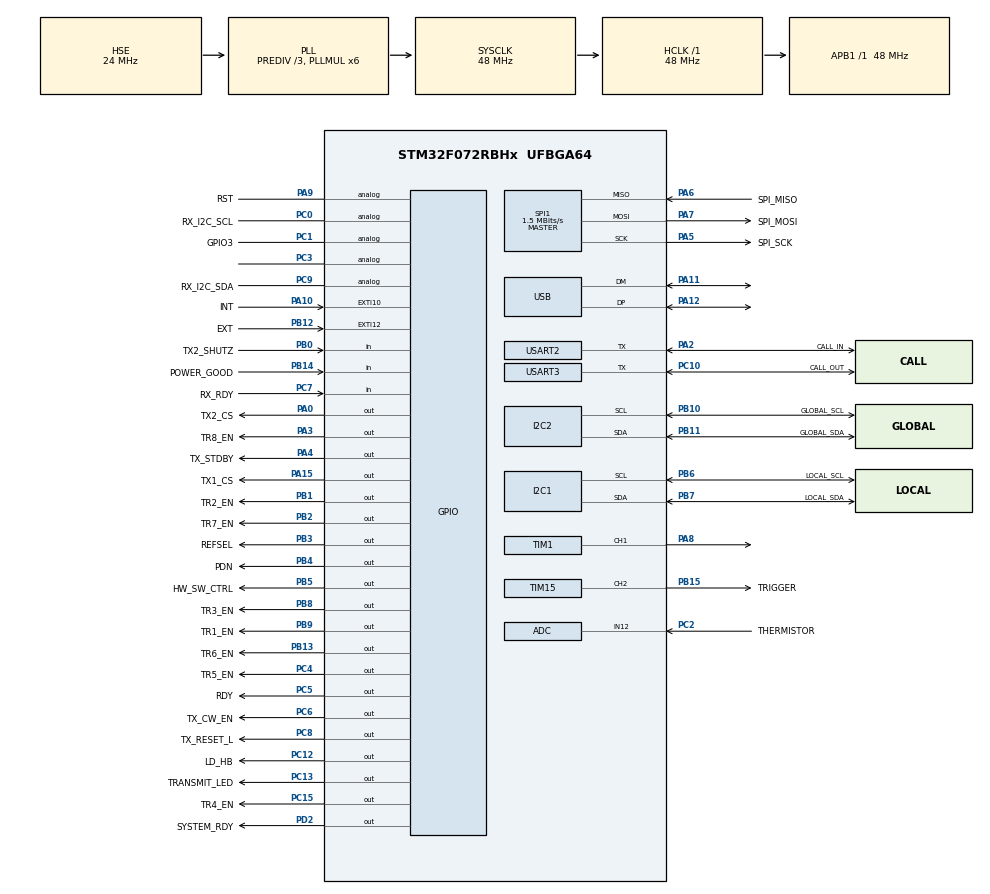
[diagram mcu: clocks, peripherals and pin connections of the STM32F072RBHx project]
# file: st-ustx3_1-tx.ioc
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ADC.ClockPrescaler=ADC_CLOCK_SYNC_PCLK_DIV4
ADC.ContinuousConvMode=ENABLE
ADC.SamplingTime=ADC_SAMPLETIME_28CYCLES_5
Dma.Request0=USART2_RX
Dma.Request1=USART2_TX
Dma.Request2=USART3_RX
Dma.Request3=USART3_TX
Dma.USART2_RX.0.Direction=DMA_PERIPH_TO_MEMORY
Dma.USART2_RX.0.Instance=DMA1_Channel5
Dma.USART2_RX.0.MemDataAlignment=DMA_MDATAALIGN_BYTE
Dma.USART2_RX.0.MemInc=DMA_MINC_ENABLE
Dma.USART2_RX.0.Mode=DMA_NORMAL
Dma.USART2_RX.0.PeriphDataAlignment=DMA_PDATAALIGN_BYTE
Dma.USART2_RX.0.PeriphInc=DMA_PINC_DISABLE
Dma.USART2_RX.0.Priority=DMA_PRIORITY_LOW
Dma.USART2_TX.1.Direction=DMA_MEMORY_TO_PERIPH
Dma.USART2_TX.1.Instance=DMA1_Channel4
Dma.USART2_TX.1.MemDataAlignment=DMA_MDATAALIGN_BYTE
Dma.USART2_TX.1.MemInc=DMA_MINC_ENABLE
Dma.USART2_TX.1.Mode=DMA_NORMAL
Dma.USART2_TX.1.PeriphDataAlignment=DMA_PDATAALIGN_BYTE
Dma.USART2_TX.1.PeriphInc=DMA_PINC_DISABLE
Dma.USART2_TX.1.Priority=DMA_PRIORITY_LOW
Dma.USART3_RX.2.Direction=DMA_PERIPH_TO_MEMORY
Dma.USART3_RX.2.Instance=DMA1_Channel6
Dma.USART3_RX.2.MemDataAlignment=DMA_MDATAALIGN_BYTE
Dma.USART3_RX.2.MemInc=DMA_MINC_ENABLE
Dma.USART3_RX.2.Mode=DMA_NORMAL
Dma.USART3_RX.2.PeriphDataAlignment=DMA_PDATAALIGN_BYTE
Dma.USART3_RX.2.PeriphInc=DMA_PINC_DISABLE
Dma.USART3_RX.2.Priority=DMA_PRIORITY_LOW
Dma.USART3_TX.3.Direction=DMA_MEMORY_TO_PERIPH
Dma.USART3_TX.3.Instance=DMA1_Channel7
Dma.USART3_TX.3.MemDataAlignment=DMA_MDATAALIGN_BYTE
Dma.USART3_TX.3.MemInc=DMA_MINC_ENABLE
Dma.USART3_TX.3.Mode=DMA_NORMAL
Dma.USART3_TX.3.PeriphDataAlignment=DMA_PDATAALIGN_BYTE
Dma.USART3_TX.3.PeriphInc=DMA_PINC_DISABLE
Dma.USART3_TX.3.Priority=DMA_PRIORITY_LOW
I2C1.Timing=0x00201D2B
I2C2.Timing=0x20303E5D
Mcu.Family=STM32F0
Mcu.Name=STM32F072RBHx
Mcu.Package=UFBGA64
NVIC.ADC1_COMP_IRQn=true\:0\:0\:false\:false\:true\:true\:true\:true
NVIC.DMA1_Channel4_5_6_7_IRQn=true\:0\:0\:false\:false\:true\:false\:true\:true
NVIC.I2C1_IRQn=true\:0\:0\:false\:false\:true\:true\:true\:true
NVIC.I2C2_IRQn=true\:0\:0\:false\:false\:true\:true\:true\:true
NVIC.TIM14_IRQn=true\:2\:0\:true\:false\:true\:true\:true\:true
NVIC.TIM16_IRQn=true\:1\:0\:true\:false\:true\:false\:true\:true
NVIC.TIM17_IRQn=true\:0\:0\:false\:false\:true\:true\:true\:true
NVIC.TIM2_IRQn=true\:3\:0\:true\:false\:true\:true\:true\:true
NVIC.TIM3_IRQn=true\:3\:0\:true\:false\:true\:true\:true\:true
NVIC.TIM7_IRQn=true\:0\:0\:false\:false\:true\:true\:true\:true
NVIC.TimeBase=TIM16_IRQn
NVIC.TimeBaseIP=TIM16
NVIC.USART2_IRQn=true\:0\:0\:false\:false\:true\:true\:true\:true
NVIC.USART3_4_IRQn=true\:0\:0\:false\:false\:true\:true\:true\:true
NVIC.USB_IRQn=true\:0\:0\:false\:false\:true\:false\:true\:true
PA0.GPIO_Label=TX2_CS
PA0.Signal=GPIO_Output
PA10.GPIO_Label=INT
PA10.Signal=GPXTI10
PA11.Mode=Device
PA11.Signal=USB_DM
PA12.Mode=Device
PA12.Signal=USB_DP
PA13.Mode=Serial_Wire
PA13.Signal=SYS_SWDIO
PA14.Mode=Serial_Wire
PA14.Signal=SYS_SWCLK
PA15.GPIO_Label=TX1_CS
PA15.PinState=GPIO_PIN_RESET
PA15.Signal=GPIO_Output
PA2.GPIO_Label=CALL_IN
PA2.Mode=Half_duplex(single_wire_mode)
PA2.Signal=USART2_TX
PA3.GPIO_Label=TR8_EN
PA3.Signal=GPIO_Output
PA4.GPIO_Label=TX_STDBY
PA4.PinState=GPIO_PIN_SET
PA4.Signal=GPIO_Output
PA5.GPIO_Label=SPI_SCK
PA5.Mode=Full_Duplex_Master
PA5.Signal=SPI1_SCK
PA6.GPIO_Label=SPI_MISO
PA6.Mode=Full_Duplex_Master
PA6.Signal=SPI1_MISO
PA7.GPIO_Label=SPI_MOSI
PA7.Mode=Full_Duplex_Master
PA7.Signal=SPI1_MOSI
PA8.Signal=S_TIM1_CH1
PA9.GPIO_Label=RST
PA9.Signal=GPIO_Analog
PB0.GPIO_Label=TX2_SHUTZ
PB0.GPIO_PuPd=GPIO_PULLUP
PB0.Signal=GPIO_Input
PB1.GPIO_Label=TR2_EN
PB1.Signal=GPIO_Output
PB10.GPIO_Label=GLOBAL_SCL
PB10.Mode=I2C
PB10.Signal=I2C2_SCL
PB11.GPIO_Label=GLOBAL_SDA
PB11.Mode=I2C
PB11.Signal=I2C2_SDA
PB12.GPIO_Label=EXT
PB12.Signal=GPXTI12
PB13.GPIO_Label=TR6_EN
PB13.Signal=GPIO_Output
PB14.GPIO_Label=POWER_GOOD
PB14.Signal=GPIO_Input
PB15.GPIO_Label=TRIGGER
PB15.Signal=S_TIM15_CH2
PB2.GPIO_Label=TR7_EN
PB2.Signal=GPIO_Output
PB3.GPIO_Label=REFSEL
PB3.Signal=GPIO_Output
PB4.GPIO_Label=PDN
PB4.Signal=GPIO_Output
PB5.GPIO_Label=HW_SW_CTRL
PB5.Signal=GPIO_Output
PB6.GPIO_Label=LOCAL_SCL
PB6.Mode=I2C
PB6.Signal=I2C1_SCL
PB7.GPIO_Label=LOCAL_SDA
PB7.Mode=I2C
PB7.Signal=I2C1_SDA
PB8.GPIO_Label=TR3_EN
PB8.Signal=GPIO_Output
PB9.GPIO_Label=TR1_EN
PB9.Signal=GPIO_Output
PC0.GPIO_Label=RX_I2C_SCL
PC0.Signal=GPIO_Analog
PC1.GPIO_Label=GPIO3
PC1.Signal=GPIO_Analog
PC10.GPIO_Label=CALL_OUT
PC10.Mode=Half_duplex(single_wire_mode)
PC10.Signal=USART3_TX
PC12.GPIO_Label=LD_HB
PC12.PinState=GPIO_PIN_SET
PC12.Signal=GPIO_Output
PC13.GPIO_Label=TRANSMIT_LED
PC13.PinState=GPIO_PIN_SET
PC13.Signal=GPIO_Output
PC15-OSC32_OUT.GPIO_Label=TR4_EN
PC15-OSC32_OUT.Signal=GPIO_Output
PC2.GPIO_Label=THERMISTOR
PC2.Mode=IN12
PC2.Signal=ADC_IN12
PC3.Signal=GPIO_Analog
PC4.GPIO_Label=TR5_EN
PC4.Signal=GPIO_Output
PC5.GPIO_Label=RDY
PC5.Signal=GPIO_Output
PC6.GPIO_Label=TX_CW_EN
PC6.Signal=GPIO_Output
PC7.GPIO_Label=RX_RDY
PC7.Signal=GPIO_Input
PC8.GPIO_Label=TX_RESET_L
PC8.PinState=GPIO_PIN_SET
PC8.Signal=GPIO_Output
PC9.GPIO_Label=RX_I2C_SDA
PC9.Signal=GPIO_Analog
PD2.GPIO_Label=SYSTEM_RDY
PD2.Signal=GPIO_Output
PF0-OSC_IN.Mode=HSE-External-Oscillator
PF0-OSC_IN.Signal=RCC_OSC_IN
PF1-OSC_OUT.Mode=HSE-External-Oscillator
PF1-OSC_OUT.Signal=RCC_OSC_OUT
ProjectManager.HeapSize=0x200
ProjectManager.StackSize=0x400
ProjectManager.TargetToolchain=CMake
RCC.AHBFreq_Value=48000000
RCC.APB1Freq_Value=48000000
RCC.APB1TimFreq_Value=48000000
RCC.HCLKFreq_Value=48000000
RCC.HSE_VALUE=24000000
RCC.PLLDivider=RCC_PREDIV_DIV3
RCC.PLLMUL=RCC_PLL_MUL6
RCC.PLLSourceVirtual=RCC_PLLSOURCE_HSE
RCC.SYSCLKFreq_VALUE=48000000
RCC.SYSCLKSource=RCC_SYSCLKSOURCE_PLLCLK
SH.S_TIM15_CH2.0=TIM15_CH2,PWM Generation2 CH2
SH.S_TIM1_CH1.0=TIM1_CH1,PWM Generation1 CH1
SPI1.BaudRatePrescaler=SPI_BAUDRATEPRESCALER_32
SPI1.CalculateBaudRate=1.5 MBits/s
SPI1.DataSize=SPI_DATASIZE_8BIT
SPI1.Direction=SPI_DIRECTION_2LINES
SPI1.Mode=SPI_MODE_MASTER
SPI1.VirtualType=VM_MASTER
TIM1.AutoReloadPreload=TIM_AUTORELOAD_PRELOAD_ENABLE
TIM1.Channel-PWM\ Generation1\ CH1=TIM_CHANNEL_1
TIM1.Period=24-1
TIM1.Prescaler=0
TIM1.Pulse-PWM\ Generation1\ CH1=12
TIM14.Period=100-1
TIM14.Prescaler=4799
TIM15.AutoReloadPreload=TIM_AUTORELOAD_PRELOAD_DISABLE
TIM15.BreakPolarity=TIM_BREAKPOLARITY_HIGH
TIM15.Channel-PWM\ Generation2\ CH2=TIM_CHANNEL_2
TIM15.OCIdleState_2=TIM_OCIDLESTATE_RESET
TIM15.OCPolarity_2=TIM_OCPOLARITY_LOW
TIM15.Period=1000-1
TIM15.Prescaler=48-1
TIM15.Pulse-PWM\ Generation2\ CH2=1000
TIM17.Period=1000-1
TIM17.Prescaler=48000-1
TIM2.Period=1000-1
TIM2.Prescaler=48-1
TIM3.Period=1000-1
TIM3.Prescaler=48-1
TIM3.TIM_MasterOutputTrigger=TIM_TRGO_UPDATE
TIM3.TIM_MasterSlaveMode=TIM_MASTERSLAVEMODE_ENABLE
TIM7.Period=500-1
TIM7.Prescaler=48000-1
USART2.BaudRate=115200
USART2.VirtualMode-Half_duplex(single_wire_mode)=VM_ASYNC
USART3.BaudRate=115200
USART3.VirtualMode-Half_duplex(single_wire_mode)=VM_ASYNC
USB_DEVICE.CLASS_NAME_FS=CDC
USB_DEVICE.MANUFACTURER_STRING=Openwater
USB_DEVICE.PID_CDC_FS=0x57AF
USB_DEVICE.VID=0x483
USB_DEVICE.VirtualMode=Cdc
USB_DEVICE.VirtualModeFS=Cdc_FS
VP_CRC_VS_CRC.Mode=CRC_Activate
VP_RTC_VS_RTC_Activate.Mode=RTC_Enabled
VP_SYS_VS_tim16.Mode=TIM16
VP_TIM14_VS_ClockSourceINT.Mode=Enable_Timer
VP_TIM15_VS_ClockSourceINT.Mode=Internal
VP_TIM15_VS_ClockSourceITR.Mode=TriggerSource_ITR1
VP_TIM15_VS_ControllerModeTrigger.Mode=Trigger Mode
VP_TIM15_VS_OPM.Mode=OPM_bit
VP_TIM17_VS_ClockSourceINT.Mode=Enable_Timer
VP_TIM1_VS_ClockSourceINT.Mode=Internal
VP_TIM2_VS_ClockSourceINT.Mode=Internal
VP_TIM3_VS_ClockSourceINT.Mode=Internal
VP_TIM7_VS_ClockSourceINT.Mode=Enable_Timer
VP_USB_DEVICE_VS_USB_DEVICE_CDC_FS.Mode=CDC_FS
board=custom

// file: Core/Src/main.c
/* USER CODE BEGIN Header */
/**
  ******************************************************************************
  * @file           : main.c
  * @brief          : Main program body
  ******************************************************************************
  * @attention
  *
  * Copyright (c) 2024 STMicroelectronics.
  * All rights reserved.
  *
  * This software is licensed under terms that can be found in the LICENSE file
  * in the root directory of this software component.
  * If no LICENSE file comes with this software, it is provided AS-IS.
  *
  ******************************************************************************
  */
/* USER CODE END Header */
#include "main.h"
#include "usb_device.h"

/* USER CODE BEGIN Includes */
#include "i2c_master.h"
#include "config_CDCE6214_10MHZ_ZDM.h"

#include "tx7332.h"
#include "usbd_cdc_if.h"
#include "uart_comms.h"
#include "module_manager.h"
#include "trigger.h"
#include "i2c_slave.h"
#include "thermistor.h"

#include "utils.h"
#include <stdio.h>
#include <stdbool.h>
#include <string.h>

/* USER CODE END Includes */

/* USER CODE BEGIN PD */
#define TOGGLE_INTERVAL 500  // Toggle every 500ms

#define SYSTEM_MEMORY_BASE 0x1FF0F800  // Bootloader start address for STM32F072
#define DEBOUNCE_DELAY_MS 10

/* USER CODE END PD */

ADC_HandleTypeDef hadc;

CRC_HandleTypeDef hcrc;

I2C_HandleTypeDef hi2c1;
I2C_HandleTypeDef hi2c2;

RTC_HandleTypeDef hrtc;

SPI_HandleTypeDef hspi1;

TIM_HandleTypeDef htim1;
TIM_HandleTypeDef htim2;
TIM_HandleTypeDef htim3;
TIM_HandleTypeDef htim7;
TIM_HandleTypeDef htim14;
TIM_HandleTypeDef htim15;
TIM_HandleTypeDef htim17;

UART_HandleTypeDef huart2;
UART_HandleTypeDef huart3;
DMA_HandleTypeDef hdma_usart2_rx;
DMA_HandleTypeDef hdma_usart2_tx;
DMA_HandleTypeDef hdma_usart3_rx;
DMA_HandleTypeDef hdma_usart3_tx;

/* USER CODE BEGIN PV */

uint8_t FIRMWARE_VERSION_DATA[3] = {1, 0, 16};
uint32_t id_words[3] = {0};

// Define the pointers
I2C_HandleTypeDef* GLOBAL_I2C_DEVICE = NULL;
I2C_HandleTypeDef* LOCAL_I2C_DEVICE = NULL;

volatile bool _enter_dfu = false;
volatile bool _usb_interrupt_flag = false;
TX7332 transmitters[TX_PER_MODULE];

/* USER CODE END PV */

void SystemClock_Config(void);
static void MX_GPIO_Init(void);
static void MX_DMA_Init(void);
static void MX_ADC_Init(void);
static void MX_I2C1_Init(void);
static void MX_I2C2_Init(void);
static void MX_SPI1_Init(void);
static void MX_TIM1_Init(void);
static void MX_TIM15_Init(void);
static void MX_USART2_UART_Init(void);
static void MX_USART3_UART_Init(void);
static void MX_CRC_Init(void);
static void MX_RTC_Init(void);
static void MX_TIM14_Init(void);
static void MX_TIM17_Init(void);
static void MX_TIM2_Init(void);
static void MX_TIM3_Init(void);
static void MX_TIM7_Init(void);

/* USER CODE BEGIN 0 */

void SetPinsHighImpedance(void)
{
    GPIO_InitTypeDef GPIO_InitStruct = {0};

    // De-initialize the REF_SEL pin
    HAL_GPIO_DeInit(REFSEL_GPIO_Port, REFSEL_Pin);

    // Configure REF_SEL pin to high impedance (input mode, no pull-up, no pull-down)
    GPIO_InitStruct.Pin = REFSEL_Pin;
    GPIO_InitStruct.Mode = GPIO_MODE_INPUT;
    GPIO_InitStruct.Pull = GPIO_NOPULL;
    HAL_GPIO_Init(REFSEL_GPIO_Port, &GPIO_InitStruct);

    // De-initialize the HW_SW_CTRL pin
    HAL_GPIO_DeInit(HW_SW_CTRL_GPIO_Port, HW_SW_CTRL_Pin);

    // Configure HW_SW_CTRL pin to high impedance (input mode, no pull-up, no pull-down)
    GPIO_InitStruct.Pin = HW_SW_CTRL_Pin;
    GPIO_InitStruct.Mode = GPIO_MODE_INPUT;
    GPIO_InitStruct.Pull = GPIO_NOPULL;
    HAL_GPIO_Init(HW_SW_CTRL_GPIO_Port, &GPIO_InitStruct);

    // De-initialize the TRIGGER pin
    HAL_GPIO_DeInit(TRIGGER_GPIO_Port, TRIGGER_Pin);

    // Configure TRIGGER pin to high impedance (input mode, no pull-up, no pull-down)
    GPIO_InitStruct.Pin = TRIGGER_Pin;
    GPIO_InitStruct.Mode = GPIO_MODE_INPUT;
    GPIO_InitStruct.Pull = GPIO_NOPULL;
    HAL_GPIO_Init(TRIGGER_GPIO_Port, &GPIO_InitStruct);

    // De-initialize the the 2MHz reference signal pin
    HAL_GPIO_DeInit(GPIOA, GPIO_PIN_8);

    // Configure 2MHz pin to high impedance (input mode, no pull-up, no pull-down)
    GPIO_InitStruct.Pin = GPIO_PIN_8;
    GPIO_InitStruct.Mode = GPIO_MODE_INPUT;
    GPIO_InitStruct.Pull = GPIO_NOPULL;
    HAL_GPIO_Init(GPIOA, &GPIO_InitStruct);

    // De-initialize the INT pin
    HAL_GPIO_DeInit(INT_GPIO_Port, INT_Pin);

    // Configure INT pin to high impedance (input mode, no pull-up, no pull-down)
    GPIO_InitStruct.Pin = INT_Pin;
    GPIO_InitStruct.Mode = GPIO_MODE_INPUT;
    GPIO_InitStruct.Pull = GPIO_NOPULL;
    HAL_GPIO_Init(INT_GPIO_Port, &GPIO_InitStruct);

    // De-initialize the ESTOP pin
    HAL_GPIO_DeInit(EXT_GPIO_Port, EXT_Pin);

    // Configure INT pin to high impedance (input mode, no pull-up, no pull-down)
    GPIO_InitStruct.Pin = EXT_Pin;
    GPIO_InitStruct.Mode = GPIO_MODE_INPUT;
    GPIO_InitStruct.Pull = GPIO_NOPULL;
    HAL_GPIO_Init(EXT_GPIO_Port, &GPIO_InitStruct);

}

bool AreAllSlavesReady(void)
{
    return HAL_GPIO_ReadPin(RST_GPIO_Port, RST_Pin) == GPIO_PIN_SET;
}

void WaitForAllSlavesReady(void)
{
    while (!AreAllSlavesReady())
    {
        printf("Waiting for all slaves to be ready...\n");
        HAL_Delay(100);  // Delay for stability
    }

    printf("All slaves are ready!\n");
}

void SetSlaveReadyState(bool ready)
{
    if (ready)
    {
        HAL_GPIO_WritePin(RST_GPIO_Port, RST_Pin, GPIO_PIN_SET);  // Hi-Z (Ready)
    }
    else
    {
        HAL_GPIO_WritePin(RST_GPIO_Port, RST_Pin, GPIO_PIN_RESET); // Drive LOW (Not Ready)
    }
}

void ConfigureResetPin(bool master)
{
    GPIO_InitTypeDef GPIO_InitStruct = {0};
	// De-initialize the REF_SEL pin
	HAL_GPIO_DeInit(RST_GPIO_Port, RST_Pin);

    if(master){
        // Configure PA9 as INPUT with Pull-up
        GPIO_InitStruct.Pin = RST_Pin;
        GPIO_InitStruct.Mode = GPIO_MODE_INPUT;
        GPIO_InitStruct.Pull = GPIO_PULLUP;
        HAL_GPIO_Init(RST_GPIO_Port, &GPIO_InitStruct);
    }else{
        // Configure PA9 as open-drain output (Hi-Z when ready)
        GPIO_InitStruct.Pin = RST_Pin;
        GPIO_InitStruct.Mode = GPIO_MODE_OUTPUT_OD;
        GPIO_InitStruct.Pull = GPIO_NOPULL;  // No internal pull-up
        HAL_GPIO_Init(RST_GPIO_Port, &GPIO_InitStruct);
        SetSlaveReadyState(false);
    }

}

void ConfigureHIzPin(GPIO_TypeDef* GPIOx, uint16_t GPIO_Pin)
{
    GPIO_InitTypeDef GPIO_InitStruct = {0};
	// De-initialize the REF_SEL pin
	HAL_GPIO_DeInit(GPIOx, GPIO_Pin);

    // Configure as input with no pull-up/down (Hi-Z)
    GPIO_InitStruct.Pin = GPIO_Pin;
    GPIO_InitStruct.Mode = GPIO_MODE_INPUT;
    GPIO_InitStruct.Pull = GPIO_NOPULL;
    HAL_GPIO_Init(GPIOx, &GPIO_InitStruct);
}

static bool ConfigureClock()
{
  int count = 0;
  uint16_t v = 0;

  // reset
  HAL_GPIO_WritePin(PDN_GPIO_Port, PDN_Pin, GPIO_PIN_RESET);
  HAL_Delay(250);
  HAL_GPIO_WritePin(PDN_GPIO_Port, PDN_Pin, GPIO_PIN_SET);
  HAL_Delay(25);
  //I2C_write_CDCE6214_reg(0x67, 0x000F, 0x5020); // unlock eeprom
  HAL_Delay(25);

  // printf("Configuring Clock chip\r\n");
  // Calculate the number of elements in the array
  // blur6214_64mhz_values
  size_t num_elements = sizeof(cdce6214_v6_10mhz_values) / sizeof(uint32_t);

  // Iterate through the array and split each uint32_t value into two uint16_t values
  for (size_t i = 0; i < num_elements; i++)
  {
    uint32_t value = cdce6214_v6_10mhz_values[i];

    // Split the value into upper and lower words
    uint16_t reg_addr = (uint16_t)(value >> 16); // Upper word is reg_addr
    uint16_t reg_value = (uint16_t)value;        // Lower word is reg_value

    // Print the split values
    if (!I2C_write_CDCE6214_reg(0x67, reg_addr, reg_value))
    {
      // printf("failed Index %zu: reg_addr = 0x%04X, reg_value = 0x%04X\r\n", i, reg_addr, reg_value);
      return false;
    }
    HAL_Delay(1);
  }

  I2C_write_CDCE6214_reg(0x67, 0x0000, 0x1130); // calibrate
  HAL_Delay(1);
  I2C_write_CDCE6214_reg(0x67, 0x0000, 0x1120); // calibrate

  for(count = 0; count < 10; count ++){   // check for lock
	  HAL_Delay(50);
	  v = I2C_read_CDCE6214_reg(0x67, 0x0007);
	  if ((v & 0x01) == 0x01) {
		  HAL_GPIO_WritePin(SYSTEM_RDY_GPIO_Port, SYSTEM_RDY_Pin, GPIO_PIN_RESET);
		  break;
	  }
  }

  return true;
}

static void Detect_MAX31875_Bus(void)
{
    uint8_t dummy = 0;

    // Try hi2c1 first
    if (HAL_I2C_Master_Transmit(&hi2c1, MAX31875_ADDRESS << 1, &dummy, 0, 100) == HAL_OK ||
        HAL_I2C_IsDeviceReady(&hi2c1, MAX31875_ADDRESS << 1, 1, 100) == HAL_OK)
    {
        LOCAL_I2C_DEVICE = &hi2c1;
        GLOBAL_I2C_DEVICE = &hi2c2;
    }
    else if (HAL_I2C_Master_Transmit(&hi2c2, MAX31875_ADDRESS << 1, &dummy, 0, 100) == HAL_OK ||
             HAL_I2C_IsDeviceReady(&hi2c2, MAX31875_ADDRESS << 1, 1, 100) == HAL_OK)
    {
        LOCAL_I2C_DEVICE = &hi2c2;
        GLOBAL_I2C_DEVICE = &hi2c1;
    }
    else
    {
        // Could not detect MAX31875 on either bus
        Error_Handler();
    }
}

/* USER CODE END 0 */

int main(void)
{

  /* USER CODE BEGIN 1 */

  uint32_t last_toggle_time = HAL_GetTick(); // Store the initial time
  uint32_t current_time = 0;

  /* USER CODE END 1 */

  /* MCU Configuration--------------------------------------------------------*/

  /* Reset of all peripherals, Initializes the Flash interface and the Systick. */
  HAL_Init();

  /* Configure the system clock */
  SystemClock_Config();

  /* Initialize all configured peripherals */
  MX_GPIO_Init();
  MX_DMA_Init();
  MX_ADC_Init();
  MX_I2C1_Init();
  MX_I2C2_Init();
  MX_SPI1_Init();
  MX_TIM1_Init();
  MX_TIM15_Init();
  MX_USART2_UART_Init();
  MX_USART3_UART_Init();
  MX_USB_DEVICE_Init();
  MX_CRC_Init();
  MX_RTC_Init();
  MX_TIM14_Init();
  MX_TIM17_Init();
  MX_TIM2_Init();
  MX_TIM3_Init();
  MX_TIM7_Init();
  /* USER CODE BEGIN 2 */
  SetPinsHighImpedance();

  // setup default
  deinit_trigger();

  HAL_GPIO_WritePin(SYSTEM_RDY_GPIO_Port, SYSTEM_RDY_Pin, GPIO_PIN_SET);
  HAL_GPIO_WritePin(TRANSMIT_LED_GPIO_Port, TRANSMIT_LED_Pin, GPIO_PIN_SET);

  HAL_Delay(250); // wait for role to be set if connected to usb

  // Initialize thermistor library
  Thermistor_Start(&hadc, 2.5f, 10000.0f);

  //I2C_scan();
  Detect_MAX31875_Bus();
  HAL_Delay(5);

  // Initializing TX7332
  HAL_GPIO_WritePin(GPIOC, TX_RESET_L_Pin | TX_CW_EN_Pin, GPIO_PIN_RESET);
  HAL_GPIO_WritePin(TX_STDBY_GPIO_Port, TX_STDBY_Pin, GPIO_PIN_RESET);
  HAL_GPIO_WritePin(TR1_EN_GPIO_Port, TR1_EN_Pin, GPIO_PIN_RESET);
  HAL_GPIO_WritePin(TR2_EN_GPIO_Port, TR2_EN_Pin, GPIO_PIN_RESET);
  HAL_GPIO_WritePin(TR3_EN_GPIO_Port, TR3_EN_Pin, GPIO_PIN_RESET);
  HAL_GPIO_WritePin(TR4_EN_GPIO_Port, TR4_EN_Pin, GPIO_PIN_RESET);
  HAL_GPIO_WritePin(TR5_EN_GPIO_Port, TR5_EN_Pin, GPIO_PIN_RESET);
  HAL_GPIO_WritePin(TR6_EN_GPIO_Port, TR6_EN_Pin, GPIO_PIN_RESET);
  HAL_GPIO_WritePin(TR7_EN_GPIO_Port, TR7_EN_Pin, GPIO_PIN_RESET);
  HAL_GPIO_WritePin(TR8_EN_GPIO_Port, TR8_EN_Pin, GPIO_PIN_RESET);
  HAL_GPIO_WritePin(GPIOA, TX1_CS_Pin | TX2_CS_Pin, GPIO_PIN_RESET); // TODO: Verify initial state

  // reset TX7332
  TX7332_Reset();
  HAL_Delay(25);

  // configure CS for TX7332
  TX7332_Init(&transmitters[0], TX1_CS_GPIO_Port, TX1_CS_Pin);
  TX7332_Init(&transmitters[1], TX2_CS_GPIO_Port, TX2_CS_Pin);
  HAL_Delay(50);

  HAL_GPIO_WritePin(TX_CW_EN_GPIO_Port, TX_CW_EN_Pin, GPIO_PIN_RESET);
  HAL_GPIO_WritePin(TR1_EN_GPIO_Port, TR1_EN_Pin, GPIO_PIN_SET);
  HAL_GPIO_WritePin(TR2_EN_GPIO_Port, TR2_EN_Pin, GPIO_PIN_SET);
  HAL_GPIO_WritePin(TR3_EN_GPIO_Port, TR3_EN_Pin, GPIO_PIN_SET);
  HAL_GPIO_WritePin(TR4_EN_GPIO_Port, TR4_EN_Pin, GPIO_PIN_SET);
  HAL_GPIO_WritePin(TR5_EN_GPIO_Port, TR5_EN_Pin, GPIO_PIN_SET);
  HAL_GPIO_WritePin(TR6_EN_GPIO_Port, TR6_EN_Pin, GPIO_PIN_SET);
  HAL_GPIO_WritePin(TR7_EN_GPIO_Port, TR7_EN_Pin, GPIO_PIN_SET);
  HAL_GPIO_WritePin(TR8_EN_GPIO_Port, TR8_EN_Pin, GPIO_PIN_SET);
  HAL_Delay(50);

  // system entering ready state
  // HAL_GPIO_WritePin(SYSTEM_RDY_GPIO_Port, SYSTEM_RDY_Pin, GPIO_PIN_RESET);

  HAL_Delay(250);
  MX_USB_DEVICE_Init();
  /* USER CODE END 2 */

  /* Infinite loop */
  while (1)
  {

    /* USER CODE BEGIN 3 */
	current_time = HAL_GetTick(); // Get current time

	if(!get_configured()) {
	  // start listen
	  if(get_device_role()==ROLE_MASTER){
		  OW_TimerData timerDataConfig;

		  ConfigureResetPin(true);
		  configure_master();

		  timerDataConfig.TriggerFrequencyHz = 10;
		  timerDataConfig.TriggerPulseWidthUsec = 2000;
		  timerDataConfig.TriggerPulseCount = 5; // no pulse count
		  timerDataConfig.TriggerPulseTrainCount = 2;
		  timerDataConfig.TriggerPulseTrainInterval = 0;
		  timerDataConfig.TriggerMode = TRIGGER_MODE_CONTINUOUS; // TRIGGER_MODE_SEQUENCE TRIGGER_MODE_CONTINUOUS TRIGGER_MODE_SINGLE
		  timerDataConfig.ProfileIncrement = 0;
		  timerDataConfig.ProfileIndex = 0;
		  init_trigger_pulse(timerDataConfig);

		  MX_TIM1_Init();
		  // 2MHz reference signal
		  HAL_TIM_PWM_Start(&htim1, TIM_CHANNEL_1);
		  HAL_Delay(10);

		  // clock chip setup
		  HAL_GPIO_WritePin(PDN_GPIO_Port, PDN_Pin, GPIO_PIN_SET);
		  HAL_GPIO_WritePin(REFSEL_GPIO_Port, REFSEL_Pin, GPIO_PIN_SET);
		  HAL_Delay(10);
		  ConfigureClock();

	  }else{
		  ConfigureHIzPin(TRIGGER_GPIO_Port, TRIGGER_Pin);
		  ConfigureResetPin(false);
		  configure_slave();
		  SetSlaveReadyState(true);
	  }
	  HAL_Delay(100);
	  if(get_device_role()==ROLE_MASTER){
		  WaitForAllSlavesReady();
		  enumerate_slaves();
		  set_configured(true);
		  HAL_Delay(100);
		  I2C_scan_global();

		  comms_host_start();
	  }else{
		  while(!get_configured() && !_usb_interrupt_flag)
		  {
			comms_onewire_check_received();
			uint8_t my_slave_address = get_slave_addres();
			if(my_slave_address>=0x20){
				HAL_GPIO_WritePin(PDN_GPIO_Port, PDN_Pin, GPIO_PIN_SET);
				I2C_Slave_Init(my_slave_address);
				HAL_Delay(5);
				ConfigureClock();
			}
			HAL_Delay(1);
		  }
		  if(_usb_interrupt_flag) {
			  _usb_interrupt_flag = false;
		  }
	  }
	}
	else
	{
		if(get_device_role()== ROLE_MASTER){
			comms_host_check_received(); // check comms
		}else{
			comms_onewire_check_received();
			I2C_Process();
		}
	}

	if ((current_time - last_toggle_time) >= TOGGLE_INTERVAL) {
		HAL_GPIO_TogglePin(LD_HB_GPIO_Port, LD_HB_Pin);
		last_toggle_time = current_time; // Update the last toggle time
	}
  }
  /* USER CODE END 3 */
}

void SystemClock_Config(void)
{
  RCC_OscInitTypeDef RCC_OscInitStruct = {0};
  RCC_ClkInitTypeDef RCC_ClkInitStruct = {0};
  RCC_PeriphCLKInitTypeDef PeriphClkInit = {0};

  /** Initializes the RCC Oscillators according to the specified parameters
  * in the RCC_OscInitTypeDef structure.
  */
  RCC_OscInitStruct.OscillatorType = RCC_OSCILLATORTYPE_HSI|RCC_OSCILLATORTYPE_HSI48
                              |RCC_OSCILLATORTYPE_LSI|RCC_OSCILLATORTYPE_HSE;
  RCC_OscInitStruct.HSEState = RCC_HSE_ON;
  RCC_OscInitStruct.HSIState = RCC_HSI_ON;
  RCC_OscInitStruct.HSI48State = RCC_HSI48_ON;
  RCC_OscInitStruct.HSICalibrationValue = RCC_HSICALIBRATION_DEFAULT;
  RCC_OscInitStruct.LSIState = RCC_LSI_ON;
  RCC_OscInitStruct.PLL.PLLState = RCC_PLL_ON;
  RCC_OscInitStruct.PLL.PLLSource = RCC_PLLSOURCE_HSE;
  RCC_OscInitStruct.PLL.PLLMUL = RCC_PLL_MUL6;
  RCC_OscInitStruct.PLL.PREDIV = RCC_PREDIV_DIV3;
  if (HAL_RCC_OscConfig(&RCC_OscInitStruct) != HAL_OK)
  {
    Error_Handler();
  }

  /** Initializes the CPU, AHB and APB buses clocks
  */
  RCC_ClkInitStruct.ClockType = RCC_CLOCKTYPE_HCLK|RCC_CLOCKTYPE_SYSCLK
                              |RCC_CLOCKTYPE_PCLK1;
  RCC_ClkInitStruct.SYSCLKSource = RCC_SYSCLKSOURCE_PLLCLK;
  RCC_ClkInitStruct.AHBCLKDivider = RCC_SYSCLK_DIV1;
  RCC_ClkInitStruct.APB1CLKDivider = RCC_HCLK_DIV1;

  if (HAL_RCC_ClockConfig(&RCC_ClkInitStruct, FLASH_LATENCY_1) != HAL_OK)
  {
    Error_Handler();
  }
  PeriphClkInit.PeriphClockSelection = RCC_PERIPHCLK_USB|RCC_PERIPHCLK_USART2
                              |RCC_PERIPHCLK_I2C1|RCC_PERIPHCLK_RTC;
  PeriphClkInit.Usart2ClockSelection = RCC_USART2CLKSOURCE_PCLK1;
  PeriphClkInit.I2c1ClockSelection = RCC_I2C1CLKSOURCE_HSI;
  PeriphClkInit.RTCClockSelection = RCC_RTCCLKSOURCE_LSI;
  PeriphClkInit.UsbClockSelection = RCC_USBCLKSOURCE_HSI48;

  if (HAL_RCCEx_PeriphCLKConfig(&PeriphClkInit) != HAL_OK)
  {
    Error_Handler();
  }
}

static void MX_ADC_Init(void)
{

  ADC_ChannelConfTypeDef sConfig = {0};

  /** Configure the global features of the ADC (Clock, Resolution, Data Alignment and number of conversion)
  */
  hadc.Instance = ADC1;
  hadc.Init.ClockPrescaler = ADC_CLOCK_SYNC_PCLK_DIV4;
  hadc.Init.Resolution = ADC_RESOLUTION_12B;
  hadc.Init.DataAlign = ADC_DATAALIGN_RIGHT;
  hadc.Init.ScanConvMode = ADC_SCAN_DIRECTION_FORWARD;
  hadc.Init.EOCSelection = ADC_EOC_SINGLE_CONV;
  hadc.Init.LowPowerAutoWait = DISABLE;
  hadc.Init.LowPowerAutoPowerOff = DISABLE;
  hadc.Init.ContinuousConvMode = ENABLE;
  hadc.Init.DiscontinuousConvMode = DISABLE;
  hadc.Init.ExternalTrigConv = ADC_SOFTWARE_START;
  hadc.Init.ExternalTrigConvEdge = ADC_EXTERNALTRIGCONVEDGE_NONE;
  hadc.Init.DMAContinuousRequests = DISABLE;
  hadc.Init.Overrun = ADC_OVR_DATA_PRESERVED;
  if (HAL_ADC_Init(&hadc) != HAL_OK)
  {
    Error_Handler();
  }

  /** Configure for the selected ADC regular channel to be converted.
  */
  sConfig.Channel = ADC_CHANNEL_12;
  sConfig.Rank = ADC_RANK_CHANNEL_NUMBER;
  sConfig.SamplingTime = ADC_SAMPLETIME_28CYCLES_5;
  if (HAL_ADC_ConfigChannel(&hadc, &sConfig) != HAL_OK)
  {
    Error_Handler();
  }

}

static void MX_CRC_Init(void)
{

  hcrc.Instance = CRC;
  hcrc.Init.DefaultPolynomialUse = DEFAULT_POLYNOMIAL_ENABLE;
  hcrc.Init.DefaultInitValueUse = DEFAULT_INIT_VALUE_ENABLE;
  hcrc.Init.InputDataInversionMode = CRC_INPUTDATA_INVERSION_NONE;
  hcrc.Init.OutputDataInversionMode = CRC_OUTPUTDATA_INVERSION_DISABLE;
  hcrc.InputDataFormat = CRC_INPUTDATA_FORMAT_BYTES;
  if (HAL_CRC_Init(&hcrc) != HAL_OK)
  {
    Error_Handler();
  }

}

static void MX_I2C1_Init(void)
{

  hi2c1.Instance = I2C1;
  hi2c1.Init.Timing = 0x00201D2B;
  hi2c1.Init.OwnAddress1 = 0;
  hi2c1.Init.AddressingMode = I2C_ADDRESSINGMODE_7BIT;
  hi2c1.Init.DualAddressMode = I2C_DUALADDRESS_DISABLE;
  hi2c1.Init.OwnAddress2 = 0;
  hi2c1.Init.OwnAddress2Masks = I2C_OA2_NOMASK;
  hi2c1.Init.GeneralCallMode = I2C_GENERALCALL_DISABLE;
  hi2c1.Init.NoStretchMode = I2C_NOSTRETCH_DISABLE;
  if (HAL_I2C_Init(&hi2c1) != HAL_OK)
  {
    Error_Handler();
  }

  /** Configure Analogue filter
  */
  if (HAL_I2CEx_ConfigAnalogFilter(&hi2c1, I2C_ANALOGFILTER_ENABLE) != HAL_OK)
  {
    Error_Handler();
  }

  /** Configure Digital filter
  */
  if (HAL_I2CEx_ConfigDigitalFilter(&hi2c1, 0) != HAL_OK)
  {
    Error_Handler();
  }

}

static void MX_I2C2_Init(void)
{

  hi2c2.Instance = I2C2;
  hi2c2.Init.Timing = 0x20303E5D;
  hi2c2.Init.OwnAddress1 = 0;
  hi2c2.Init.AddressingMode = I2C_ADDRESSINGMODE_7BIT;
  hi2c2.Init.DualAddressMode = I2C_DUALADDRESS_DISABLE;
  hi2c2.Init.OwnAddress2 = 0;
  hi2c2.Init.OwnAddress2Masks = I2C_OA2_NOMASK;
  hi2c2.Init.GeneralCallMode = I2C_GENERALCALL_DISABLE;
  hi2c2.Init.NoStretchMode = I2C_NOSTRETCH_DISABLE;
  if (HAL_I2C_Init(&hi2c2) != HAL_OK)
  {
    Error_Handler();
  }

  /** Configure Analogue filter
  */
  if (HAL_I2CEx_ConfigAnalogFilter(&hi2c2, I2C_ANALOGFILTER_ENABLE) != HAL_OK)
  {
    Error_Handler();
  }

  /** Configure Digital filter
  */
  if (HAL_I2CEx_ConfigDigitalFilter(&hi2c2, 0) != HAL_OK)
  {
    Error_Handler();
  }

}

static void MX_RTC_Init(void)
{

  /** Initialize RTC Only
  */
  hrtc.Instance = RTC;
  hrtc.Init.HourFormat = RTC_HOURFORMAT_24;
  hrtc.Init.AsynchPrediv = 127;
  hrtc.Init.SynchPrediv = 255;
  hrtc.Init.OutPut = RTC_OUTPUT_DISABLE;
  hrtc.Init.OutPutPolarity = RTC_OUTPUT_POLARITY_HIGH;
  hrtc.Init.OutPutType = RTC_OUTPUT_TYPE_OPENDRAIN;
  if (HAL_RTC_Init(&hrtc) != HAL_OK)
  {
    Error_Handler();
  }

}

static void MX_SPI1_Init(void)
{

  /* SPI1 parameter configuration*/
  hspi1.Instance = SPI1;
  hspi1.Init.Mode = SPI_MODE_MASTER;
  hspi1.Init.Direction = SPI_DIRECTION_2LINES;
  hspi1.Init.DataSize = SPI_DATASIZE_8BIT;
  hspi1.Init.CLKPolarity = SPI_POLARITY_LOW;
  hspi1.Init.CLKPhase = SPI_PHASE_1EDGE;
  hspi1.Init.NSS = SPI_NSS_SOFT;
  hspi1.Init.BaudRatePrescaler = SPI_BAUDRATEPRESCALER_32;
  hspi1.Init.FirstBit = SPI_FIRSTBIT_MSB;
  hspi1.Init.TIMode = SPI_TIMODE_DISABLE;
  hspi1.Init.CRCCalculation = SPI_CRCCALCULATION_DISABLE;
  hspi1.Init.CRCPolynomial = 7;
  hspi1.Init.CRCLength = SPI_CRC_LENGTH_DATASIZE;
  hspi1.Init.NSSPMode = SPI_NSS_PULSE_ENABLE;
  if (HAL_SPI_Init(&hspi1) != HAL_OK)
  {
    Error_Handler();
  }

}

static void MX_TIM1_Init(void)
{

  TIM_ClockConfigTypeDef sClockSourceConfig = {0};
  TIM_MasterConfigTypeDef sMasterConfig = {0};
  TIM_OC_InitTypeDef sConfigOC = {0};
  TIM_BreakDeadTimeConfigTypeDef sBreakDeadTimeConfig = {0};

  htim1.Instance = TIM1;
  htim1.Init.Prescaler = 0;
  htim1.Init.CounterMode = TIM_COUNTERMODE_UP;
  htim1.Init.Period = 24-1;
  htim1.Init.ClockDivision = TIM_CLOCKDIVISION_DIV1;
  htim1.Init.RepetitionCounter = 0;
  htim1.Init.AutoReloadPreload = TIM_AUTORELOAD_PRELOAD_ENABLE;
  if (HAL_TIM_Base_Init(&htim1) != HAL_OK)
  {
    Error_Handler();
  }
  sClockSourceConfig.ClockSource = TIM_CLOCKSOURCE_INTERNAL;
  if (HAL_TIM_ConfigClockSource(&htim1, &sClockSourceConfig) != HAL_OK)
  {
    Error_Handler();
  }
  if (HAL_TIM_PWM_Init(&htim1) != HAL_OK)
  {
    Error_Handler();
  }
  sMasterConfig.MasterOutputTrigger = TIM_TRGO_RESET;
  sMasterConfig.MasterSlaveMode = TIM_MASTERSLAVEMODE_DISABLE;
  if (HAL_TIMEx_MasterConfigSynchronization(&htim1, &sMasterConfig) != HAL_OK)
  {
    Error_Handler();
  }
  sConfigOC.OCMode = TIM_OCMODE_PWM1;
  sConfigOC.Pulse = 12;
  sConfigOC.OCPolarity = TIM_OCPOLARITY_HIGH;
  sConfigOC.OCNPolarity = TIM_OCNPOLARITY_HIGH;
  sConfigOC.OCFastMode = TIM_OCFAST_DISABLE;
  sConfigOC.OCIdleState = TIM_OCIDLESTATE_RESET;
  sConfigOC.OCNIdleState = TIM_OCNIDLESTATE_RESET;
  if (HAL_TIM_PWM_ConfigChannel(&htim1, &sConfigOC, TIM_CHANNEL_1) != HAL_OK)
  {
    Error_Handler();
  }
  sBreakDeadTimeConfig.OffStateRunMode = TIM_OSSR_DISABLE;
  sBreakDeadTimeConfig.OffStateIDLEMode = TIM_OSSI_DISABLE;
  sBreakDeadTimeConfig.LockLevel = TIM_LOCKLEVEL_OFF;
  sBreakDeadTimeConfig.DeadTime = 0;
  sBreakDeadTimeConfig.BreakState = TIM_BREAK_DISABLE;
  sBreakDeadTimeConfig.BreakPolarity = TIM_BREAKPOLARITY_HIGH;
  sBreakDeadTimeConfig.AutomaticOutput = TIM_AUTOMATICOUTPUT_DISABLE;
  if (HAL_TIMEx_ConfigBreakDeadTime(&htim1, &sBreakDeadTimeConfig) != HAL_OK)
  {
    Error_Handler();
  }
  HAL_TIM_MspPostInit(&htim1);

}

static void MX_TIM2_Init(void)
{

  TIM_ClockConfigTypeDef sClockSourceConfig = {0};
  TIM_MasterConfigTypeDef sMasterConfig = {0};

  htim2.Instance = TIM2;
  htim2.Init.Prescaler = 48-1;
  htim2.Init.CounterMode = TIM_COUNTERMODE_UP;
  htim2.Init.Period = 1000-1;
  htim2.Init.ClockDivision = TIM_CLOCKDIVISION_DIV1;
  htim2.Init.AutoReloadPreload = TIM_AUTORELOAD_PRELOAD_DISABLE;
  if (HAL_TIM_Base_Init(&htim2) != HAL_OK)
  {
    Error_Handler();
  }
  sClockSourceConfig.ClockSource = TIM_CLOCKSOURCE_INTERNAL;
  if (HAL_TIM_ConfigClockSource(&htim2, &sClockSourceConfig) != HAL_OK)
  {
    Error_Handler();
  }
  sMasterConfig.MasterOutputTrigger = TIM_TRGO_RESET;
  sMasterConfig.MasterSlaveMode = TIM_MASTERSLAVEMODE_DISABLE;
  if (HAL_TIMEx_MasterConfigSynchronization(&htim2, &sMasterConfig) != HAL_OK)
  {
    Error_Handler();
  }

}

static void MX_TIM3_Init(void)
{

  TIM_ClockConfigTypeDef sClockSourceConfig = {0};
  TIM_MasterConfigTypeDef sMasterConfig = {0};

  htim3.Instance = TIM3;
  htim3.Init.Prescaler = 48-1;
  htim3.Init.CounterMode = TIM_COUNTERMODE_UP;
  htim3.Init.Period = 1000-1;
  htim3.Init.ClockDivision = TIM_CLOCKDIVISION_DIV1;
  htim3.Init.AutoReloadPreload = TIM_AUTORELOAD_PRELOAD_DISABLE;
  if (HAL_TIM_Base_Init(&htim3) != HAL_OK)
  {
    Error_Handler();
  }
  sClockSourceConfig.ClockSource = TIM_CLOCKSOURCE_INTERNAL;
  if (HAL_TIM_ConfigClockSource(&htim3, &sClockSourceConfig) != HAL_OK)
  {
    Error_Handler();
  }
  sMasterConfig.MasterOutputTrigger = TIM_TRGO_UPDATE;
  sMasterConfig.MasterSlaveMode = TIM_MASTERSLAVEMODE_ENABLE;
  if (HAL_TIMEx_MasterConfigSynchronization(&htim3, &sMasterConfig) != HAL_OK)
  {
    Error_Handler();
  }

}

static void MX_TIM7_Init(void)
{

  TIM_MasterConfigTypeDef sMasterConfig = {0};

  htim7.Instance = TIM7;
  htim7.Init.Prescaler = 48000-1;
  htim7.Init.CounterMode = TIM_COUNTERMODE_UP;
  htim7.Init.Period = 500-1;
  htim7.Init.AutoReloadPreload = TIM_AUTORELOAD_PRELOAD_DISABLE;
  if (HAL_TIM_Base_Init(&htim7) != HAL_OK)
  {
    Error_Handler();
  }
  sMasterConfig.MasterOutputTrigger = TIM_TRGO_RESET;
  sMasterConfig.MasterSlaveMode = TIM_MASTERSLAVEMODE_DISABLE;
  if (HAL_TIMEx_MasterConfigSynchronization(&htim7, &sMasterConfig) != HAL_OK)
  {
    Error_Handler();
  }

}

static void MX_TIM14_Init(void)
{

  htim14.Instance = TIM14;
  htim14.Init.Prescaler = 4799;
  htim14.Init.CounterMode = TIM_COUNTERMODE_UP;
  htim14.Init.Period = 100-1;
  htim14.Init.ClockDivision = TIM_CLOCKDIVISION_DIV1;
  htim14.Init.AutoReloadPreload = TIM_AUTORELOAD_PRELOAD_DISABLE;
  if (HAL_TIM_Base_Init(&htim14) != HAL_OK)
  {
    Error_Handler();
  }

}

static void MX_TIM15_Init(void)
{

  TIM_ClockConfigTypeDef sClockSourceConfig = {0};
  TIM_SlaveConfigTypeDef sSlaveConfig = {0};
  TIM_MasterConfigTypeDef sMasterConfig = {0};
  TIM_OC_InitTypeDef sConfigOC = {0};
  TIM_BreakDeadTimeConfigTypeDef sBreakDeadTimeConfig = {0};

  htim15.Instance = TIM15;
  htim15.Init.Prescaler = 48-1;
  htim15.Init.CounterMode = TIM_COUNTERMODE_UP;
  htim15.Init.Period = 1000-1;
  htim15.Init.ClockDivision = TIM_CLOCKDIVISION_DIV1;
  htim15.Init.RepetitionCounter = 0;
  htim15.Init.AutoReloadPreload = TIM_AUTORELOAD_PRELOAD_DISABLE;
  if (HAL_TIM_Base_Init(&htim15) != HAL_OK)
  {
    Error_Handler();
  }
  sClockSourceConfig.ClockSource = TIM_CLOCKSOURCE_INTERNAL;
  if (HAL_TIM_ConfigClockSource(&htim15, &sClockSourceConfig) != HAL_OK)
  {
    Error_Handler();
  }
  if (HAL_TIM_PWM_Init(&htim15) != HAL_OK)
  {
    Error_Handler();
  }
  if (HAL_TIM_OnePulse_Init(&htim15, TIM_OPMODE_SINGLE) != HAL_OK)
  {
    Error_Handler();
  }
  sSlaveConfig.SlaveMode = TIM_SLAVEMODE_TRIGGER;
  sSlaveConfig.InputTrigger = TIM_TS_ITR1;
  if (HAL_TIM_SlaveConfigSynchro(&htim15, &sSlaveConfig) != HAL_OK)
  {
    Error_Handler();
  }
  sMasterConfig.MasterOutputTrigger = TIM_TRGO_RESET;
  sMasterConfig.MasterSlaveMode = TIM_MASTERSLAVEMODE_DISABLE;
  if (HAL_TIMEx_MasterConfigSynchronization(&htim15, &sMasterConfig) != HAL_OK)
  {
    Error_Handler();
  }
  sConfigOC.OCMode = TIM_OCMODE_PWM1;
  sConfigOC.Pulse = 1000;
  sConfigOC.OCPolarity = TIM_OCPOLARITY_LOW;
  sConfigOC.OCNPolarity = TIM_OCNPOLARITY_HIGH;
  sConfigOC.OCFastMode = TIM_OCFAST_DISABLE;
  sConfigOC.OCIdleState = TIM_OCIDLESTATE_RESET;
  sConfigOC.OCNIdleState = TIM_OCNIDLESTATE_RESET;
  if (HAL_TIM_PWM_ConfigChannel(&htim15, &sConfigOC, TIM_CHANNEL_2) != HAL_OK)
  {
    Error_Handler();
  }
  sBreakDeadTimeConfig.OffStateRunMode = TIM_OSSR_DISABLE;
  sBreakDeadTimeConfig.OffStateIDLEMode = TIM_OSSI_DISABLE;
  sBreakDeadTimeConfig.LockLevel = TIM_LOCKLEVEL_OFF;
  sBreakDeadTimeConfig.DeadTime = 0;
  sBreakDeadTimeConfig.BreakState = TIM_BREAK_DISABLE;
  sBreakDeadTimeConfig.BreakPolarity = TIM_BREAKPOLARITY_HIGH;
  sBreakDeadTimeConfig.AutomaticOutput = TIM_AUTOMATICOUTPUT_DISABLE;
  if (HAL_TIMEx_ConfigBreakDeadTime(&htim15, &sBreakDeadTimeConfig) != HAL_OK)
  {
    Error_Handler();
  }
  HAL_TIM_MspPostInit(&htim15);

}

static void MX_TIM17_Init(void)
{

  htim17.Instance = TIM17;
  htim17.Init.Prescaler = 48000-1;
  htim17.Init.CounterMode = TIM_COUNTERMODE_UP;
  htim17.Init.Period = 1000-1;
  htim17.Init.ClockDivision = TIM_CLOCKDIVISION_DIV1;
  htim17.Init.RepetitionCounter = 0;
  htim17.Init.AutoReloadPreload = TIM_AUTORELOAD_PRELOAD_DISABLE;
  if (HAL_TIM_Base_Init(&htim17) != HAL_OK)
  {
    Error_Handler();
  }

}

static void MX_USART2_UART_Init(void)
{

  huart2.Instance = USART2;
  huart2.Init.BaudRate = 115200;
  huart2.Init.WordLength = UART_WORDLENGTH_8B;
  huart2.Init.StopBits = UART_STOPBITS_1;
  huart2.Init.Parity = UART_PARITY_NONE;
  huart2.Init.Mode = UART_MODE_TX_RX;
  huart2.Init.HwFlowCtl = UART_HWCONTROL_NONE;
  huart2.Init.OverSampling = UART_OVERSAMPLING_16;
  huart2.Init.OneBitSampling = UART_ONE_BIT_SAMPLE_DISABLE;
  huart2.AdvancedInit.AdvFeatureInit = UART_ADVFEATURE_NO_INIT;
  if (HAL_HalfDuplex_Init(&huart2) != HAL_OK)
  {
    Error_Handler();
  }

}

static void MX_USART3_UART_Init(void)
{

  huart3.Instance = USART3;
  huart3.Init.BaudRate = 115200;
  huart3.Init.WordLength = UART_WORDLENGTH_8B;
  huart3.Init.StopBits = UART_STOPBITS_1;
  huart3.Init.Parity = UART_PARITY_NONE;
  huart3.Init.Mode = UART_MODE_TX_RX;
  huart3.Init.HwFlowCtl = UART_HWCONTROL_NONE;
  huart3.Init.OverSampling = UART_OVERSAMPLING_16;
  huart3.Init.OneBitSampling = UART_ONE_BIT_SAMPLE_DISABLE;
  huart3.AdvancedInit.AdvFeatureInit = UART_ADVFEATURE_NO_INIT;
  if (HAL_HalfDuplex_Init(&huart3) != HAL_OK)
  {
    Error_Handler();
  }

}

static void MX_DMA_Init(void)
{

  /* DMA controller clock enable */
  __HAL_RCC_DMA1_CLK_ENABLE();

  /* DMA interrupt init */
  /* DMA1_Channel4_5_6_7_IRQn interrupt configuration */
  HAL_NVIC_SetPriority(DMA1_Channel4_5_6_7_IRQn, 0, 0);
  HAL_NVIC_EnableIRQ(DMA1_Channel4_5_6_7_IRQn);

}

static void MX_GPIO_Init(void)
{
  GPIO_InitTypeDef GPIO_InitStruct = {0};

  /* GPIO Ports Clock Enable */
  __HAL_RCC_GPIOC_CLK_ENABLE();
  __HAL_RCC_GPIOB_CLK_ENABLE();
  __HAL_RCC_GPIOA_CLK_ENABLE();
  __HAL_RCC_GPIOD_CLK_ENABLE();
  __HAL_RCC_GPIOF_CLK_ENABLE();

  /*Configure GPIO pin Output Level */
  HAL_GPIO_WritePin(GPIOC, TRANSMIT_LED_Pin|LD_HB_Pin|TX_RESET_L_Pin, GPIO_PIN_SET);

  /*Configure GPIO pin Output Level */
  HAL_GPIO_WritePin(GPIOB, TR1_EN_Pin|PDN_Pin|REFSEL_Pin|TR3_EN_Pin
                          |HW_SW_CTRL_Pin|TR2_EN_Pin|TR7_EN_Pin|TR6_EN_Pin, GPIO_PIN_RESET);

  /*Configure GPIO pin Output Level */
  HAL_GPIO_WritePin(GPIOA, TX1_CS_Pin|TX2_CS_Pin|TR8_EN_Pin, GPIO_PIN_RESET);

  /*Configure GPIO pin Output Level */
  HAL_GPIO_WritePin(GPIOC, TR4_EN_Pin|TX_CW_EN_Pin|TR5_EN_Pin|RDY_Pin, GPIO_PIN_RESET);

  /*Configure GPIO pin Output Level */
  HAL_GPIO_WritePin(SYSTEM_RDY_GPIO_Port, SYSTEM_RDY_Pin, GPIO_PIN_RESET);

  /*Configure GPIO pin Output Level */
  HAL_GPIO_WritePin(TX_STDBY_GPIO_Port, TX_STDBY_Pin, GPIO_PIN_SET);

  /*Configure GPIO pins : TRANSMIT_LED_Pin TR4_EN_Pin LD_HB_Pin TX_RESET_L_Pin
                           TX_CW_EN_Pin TR5_EN_Pin RDY_Pin */
  GPIO_InitStruct.Pin = TRANSMIT_LED_Pin|TR4_EN_Pin|LD_HB_Pin|TX_RESET_L_Pin
                          |TX_CW_EN_Pin|TR5_EN_Pin|RDY_Pin;
  GPIO_InitStruct.Mode = GPIO_MODE_OUTPUT_PP;
  GPIO_InitStruct.Pull = GPIO_NOPULL;
  GPIO_InitStruct.Speed = GPIO_SPEED_FREQ_LOW;
  HAL_GPIO_Init(GPIOC, &GPIO_InitStruct);

  /*Configure GPIO pins : TR1_EN_Pin PDN_Pin REFSEL_Pin TR3_EN_Pin
                           HW_SW_CTRL_Pin TR2_EN_Pin TR7_EN_Pin TR6_EN_Pin */
  GPIO_InitStruct.Pin = TR1_EN_Pin|PDN_Pin|REFSEL_Pin|TR3_EN_Pin
                          |HW_SW_CTRL_Pin|TR2_EN_Pin|TR7_EN_Pin|TR6_EN_Pin;
  GPIO_InitStruct.Mode = GPIO_MODE_OUTPUT_PP;
  GPIO_InitStruct.Pull = GPIO_NOPULL;
  GPIO_InitStruct.Speed = GPIO_SPEED_FREQ_LOW;
  HAL_GPIO_Init(GPIOB, &GPIO_InitStruct);

  /*Configure GPIO pins : TX1_CS_Pin TX2_CS_Pin TR8_EN_Pin TX_STDBY_Pin */
  GPIO_InitStruct.Pin = TX1_CS_Pin|TX2_CS_Pin|TR8_EN_Pin|TX_STDBY_Pin;
  GPIO_InitStruct.Mode = GPIO_MODE_OUTPUT_PP;
  GPIO_InitStruct.Pull = GPIO_NOPULL;
  GPIO_InitStruct.Speed = GPIO_SPEED_FREQ_LOW;
  HAL_GPIO_Init(GPIOA, &GPIO_InitStruct);

  /*Configure GPIO pin : SYSTEM_RDY_Pin */
  GPIO_InitStruct.Pin = SYSTEM_RDY_Pin;
  GPIO_InitStruct.Mode = GPIO_MODE_OUTPUT_PP;
  GPIO_InitStruct.Pull = GPIO_NOPULL;
  GPIO_InitStruct.Speed = GPIO_SPEED_FREQ_LOW;
  HAL_GPIO_Init(SYSTEM_RDY_GPIO_Port, &GPIO_InitStruct);

  /*Configure GPIO pin : INT_Pin */
  GPIO_InitStruct.Pin = INT_Pin;
  GPIO_InitStruct.Mode = GPIO_MODE_IT_RISING;
  GPIO_InitStruct.Pull = GPIO_NOPULL;
  HAL_GPIO_Init(INT_GPIO_Port, &GPIO_InitStruct);

  /*Configure GPIO pin : RST_Pin */
  GPIO_InitStruct.Pin = RST_Pin;
  GPIO_InitStruct.Mode = GPIO_MODE_ANALOG;
  GPIO_InitStruct.Pull = GPIO_NOPULL;
  HAL_GPIO_Init(RST_GPIO_Port, &GPIO_InitStruct);

  /*Configure GPIO pins : RX_I2C_SDA_Pin GPIO3_Pin RX_I2C_SCL_Pin PC3 */
  GPIO_InitStruct.Pin = RX_I2C_SDA_Pin|GPIO3_Pin|RX_I2C_SCL_Pin|GPIO_PIN_3;
  GPIO_InitStruct.Mode = GPIO_MODE_ANALOG;
  GPIO_InitStruct.Pull = GPIO_NOPULL;
  HAL_GPIO_Init(GPIOC, &GPIO_InitStruct);

  /*Configure GPIO pin : RX_RDY_Pin */
  GPIO_InitStruct.Pin = RX_RDY_Pin;
  GPIO_InitStruct.Mode = GPIO_MODE_INPUT;
  GPIO_InitStruct.Pull = GPIO_NOPULL;
  HAL_GPIO_Init(RX_RDY_GPIO_Port, &GPIO_InitStruct);

  /*Configure GPIO pin : TX2_SHUTZ_Pin */
  GPIO_InitStruct.Pin = TX2_SHUTZ_Pin;
  GPIO_InitStruct.Mode = GPIO_MODE_INPUT;
  GPIO_InitStruct.Pull = GPIO_PULLUP;
  HAL_GPIO_Init(TX2_SHUTZ_GPIO_Port, &GPIO_InitStruct);

  /*Configure GPIO pin : POWER_GOOD_Pin */
  GPIO_InitStruct.Pin = POWER_GOOD_Pin;
  GPIO_InitStruct.Mode = GPIO_MODE_INPUT;
  GPIO_InitStruct.Pull = GPIO_NOPULL;
  HAL_GPIO_Init(POWER_GOOD_GPIO_Port, &GPIO_InitStruct);

  /*Configure GPIO pin : EXT_Pin */
  GPIO_InitStruct.Pin = EXT_Pin;
  GPIO_InitStruct.Mode = GPIO_MODE_IT_RISING;
  GPIO_InitStruct.Pull = GPIO_NOPULL;
  HAL_GPIO_Init(EXT_GPIO_Port, &GPIO_InitStruct);

}

/* USER CODE BEGIN 4 */

void HAL_UARTEx_RxEventCallback(UART_HandleTypeDef *huart, uint16_t Size)
{
	if (huart->Instance == CALL_IN_UART.Instance) {
		comms_handle_ow_CallIn_RxEventCallback(huart, Size);
	}else if(huart->Instance == CALL_OUT_UART.Instance) {
		comms_handle_ow_CallOut_RxEventCallback(huart, Size);
	}
}

void HAL_UART_RxCpltCallback(UART_HandleTypeDef *huart) {

}

void HAL_UART_TxCpltCallback(UART_HandleTypeDef *huart) {
	if(huart->Instance == CALL_OUT_UART.Instance){
		comms_handle_ow_CallOut_TxCpltCallback(huart);
	}else if(huart->Instance == CALL_IN_UART.Instance){
		comms_handle_ow_CallIn_TxCpltCallback(huart);
	}
}

void delay_ms(uint32_t ms)
{
	printf("Clock: %ld\r\n", SystemCoreClock);
    uint32_t delay_cycles = (SystemCoreClock / 1000) * ms;
    while (delay_cycles--) {
        __NOP();  // Ensures the loop doesn't get optimized away
    }
}

/* USER CODE END 4 */

void HAL_TIM_PeriodElapsedCallback(TIM_HandleTypeDef *htim)
{
  /* USER CODE BEGIN Callback 0 */

  if (htim->Instance == CDC_TIMER.Instance) {
	  CDC_Idle_Timer_Handler();
  }

  if (htim->Instance == TIM3)
  {
    TRIG_TIM3_IRQHandler();
  }

  if (htim->Instance == TIM2)
  {
    TRIG_TIM2_IRQHandler();
  }

  if (htim->Instance == TIM7)
  {
    TEMP_TIM7_IRQHandler();
  }

  /* USER CODE END Callback 0 */
  if (htim->Instance == TIM16)
  {
    HAL_IncTick();
  }
  /* USER CODE BEGIN Callback 1 */

  if (htim->Instance == RESET_TIMER.Instance) {
      // Stop the timer to prevent re-triggering
      HAL_TIM_Base_Stop_IT(htim);

      if(_enter_dfu){
		// jump to bootloader DFU
		// 16k SRAM in address 0x2000 0000 - 0x2000 3FFF
		*((unsigned long *)0x20003FF0) = 0xDEADBEEF;
      }

      MX_USB_DEVICE_DeInit();

      delay_ms(200);

	  // Reset the board
	  NVIC_SystemReset();
  }

  /* USER CODE END Callback 1 */
}

void Error_Handler(void)
{
  /* USER CODE BEGIN Error_Handler_Debug */
  /* User can add his own implementation to report the HAL error return state */
  HAL_GPIO_WritePin(SYSTEM_RDY_GPIO_Port, SYSTEM_RDY_Pin, GPIO_PIN_SET);
  __disable_irq();
  while (1)
  {
  }
  /* USER CODE END Error_Handler_Debug */
}
